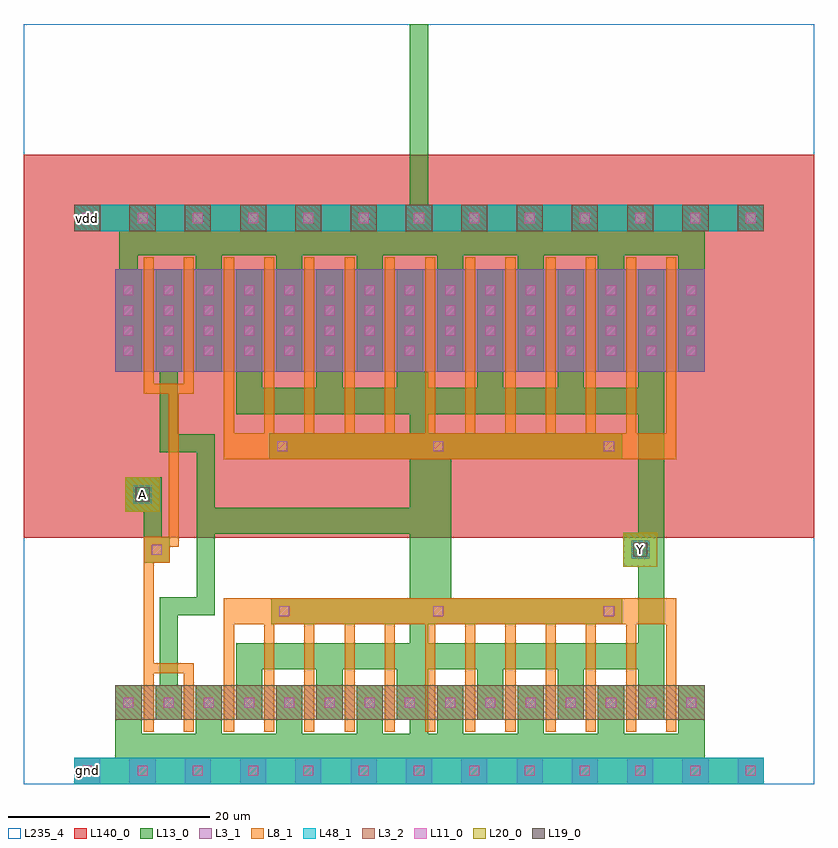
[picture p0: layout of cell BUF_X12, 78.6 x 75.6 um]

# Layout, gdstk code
import gdstk
lib = gdstk.Library(unit=1e-6, precision=1e-09)
def R(c, l, rs):  # rectangles x0, y0, x1, y1
    for r in rs: c.add(gdstk.rectangle(r[:2], r[2:], *l))
def A(c, l, x, y, w, h, nx, ny, dx, dy):  # array of equal rectangles
    R(c, l, [(x+i*dx, y+j*dy, x+i*dx+w, y+j*dy+h) for i in range(nx) for j in range(ny)])
def P(c, l, *ps):  # polygons
    for p in ps: c.add(gdstk.Polygon(p, *l))
L3_1 = (3, 1)
L3_2 = (3, 2)
L8_1 = (8, 1)
L11_0 = (11, 0)
L13_0 = (13, 0)
L19_0 = (19, 0)
L20_0 = (20, 0)
L48_1 = (48, 1)
L140_0 = (140, 0)
L235_4 = (235, 4)

buf_x12 = lib.new_cell('BUF_X12')
A(buf_x12, L3_1, 5, 0, 2.6, 2.6, 13, 1, 5.5, 0)
R(buf_x12, L3_1, [(9.1,41,67.7,51.2)])
A(buf_x12, L3_2, 5, 55, 2.6, 2.6, 13, 1, 5.5, 0)
R(buf_x12, L3_2, [(9.1,6.4,67.7,9.8)])
P(buf_x12, L8_1, [(19.9,5.2),(19.9,18.5),(64.9,18.5),(64.9,5.2),(63.9,5.2),(63.9,15.9),(60.9,15.9),(60.9,5.2),(59.9,5.2),(59.9,15.9),(56.9,15.9),(56.9,5.2),(55.9,5.2),(55.9,15.9),(52.9,15.9),(52.9,5.2),(51.9,5.2),(51.9,15.9),(48.9,15.9),(48.9,5.2),(47.9,5.2),(47.9,15.9),(44.9,15.9),(44.9,5.2),(43.9,5.2),(43.9,15.9),(40.9,15.9),(40.9,5.2),(39.9,5.2),(39.9,15.9),(36.9,15.9),(36.9,5.2),(35.9,5.2),(35.9,15.9),(32.9,15.9),(32.9,5.2),(31.9,5.2),(31.9,15.9),(28.9,15.9),(28.9,5.2),(27.9,5.2),(27.9,15.9),(24.9,15.9),(24.9,5.2),(23.9,5.2),(23.9,15.9),(20.9,15.9),(20.9,5.2)],
  [(11.9,5.2),(11.9,24.6),(14.4,24.6),(14.4,38.8),(11.9,38.8),(11.9,52.4),(12.9,52.4),(12.9,39.8),(15.9,39.8),(15.9,52.4),(16.9,52.4),(16.9,38.8),(15.4,38.8),(15.4,23.6),(14.5,23.6),(14.5,22),(12.9,22),(12.9,12),(16.9,12),(16.9,5.2),(15.9,5.2),(15.9,11),(12.9,11),(12.9,5.2)],
  [(19.9,32.3),(19.9,52.4),(20.9,52.4),(20.9,34.9),(23.9,34.9),(23.9,52.4),(24.9,52.4),(24.9,34.9),(27.9,34.9),(27.9,52.4),(28.9,52.4),(28.9,34.9),(31.9,34.9),(31.9,52.4),(32.9,52.4),(32.9,34.9),(35.9,34.9),(35.9,52.4),(36.9,52.4),(36.9,34.9),(39.9,34.9),(39.9,52.4),(40.9,52.4),(40.9,34.9),(43.9,34.9),(43.9,52.4),(44.9,52.4),(44.9,34.9),(47.9,34.9),(47.9,52.4),(48.9,52.4),(48.9,34.9),(51.9,34.9),(51.9,52.4),(52.9,52.4),(52.9,34.9),(55.9,34.9),(55.9,52.4),(56.9,52.4),(56.9,34.9),(59.9,34.9),(59.9,52.4),(60.9,52.4),(60.9,34.9),(63.9,34.9),(63.9,52.4),(64.9,52.4),(64.9,32.3)])
A(buf_x12, L11_0, 5.8, 0.8, 1, 1, 13, 2, 5.5, 55)
A(buf_x12, L11_0, 9.9, 7.6, 1, 1, 3, 2, 4, 35)
A(buf_x12, L11_0, 17.9, 7.6, 1, 1, 13, 2, 4, 35)
A(buf_x12, L11_0, 9.9, 44.6, 1, 1, 3, 3, 4, 2)
A(buf_x12, L11_0, 17.9, 44.6, 1, 1, 13, 3, 4, 2)
R(buf_x12, L11_0, [(25.4,16.7,26.4,17.7), (40.7,16.7,41.7,17.7), (57.7,16.7,58.7,17.7), (12.7,22.8,13.7,23.8), (25.2,33.1,26.2,34.1), (40.7,33.1,41.7,34.1), (57.7,33.1,58.7,34.1)])
P(buf_x12, L13_0, [(11.9,22),(11.9,27.1),(10.1,27.1),(10.1,30.5),(13.7,30.5),(13.7,24.6),(14.5,24.6),(14.5,22)],
  [(5,0),(5,2.6),(9.1,2.6),(9.1,9.8),(11.7,9.8),(11.7,5),(17.1,5),(17.1,9.8),(19.7,9.8),(19.7,5),(25.1,5),(25.1,9.8),(27.7,9.8),(27.7,5),(33.1,5),(33.1,9.8),(35.7,9.8),(35.7,5),(38.4,5),(38.4,6.4),(37.1,6.4),(37.1,11.4),(31.7,11.4),(31.7,6.4),(29.1,6.4),(29.1,11.4),(23.7,11.4),(23.7,6.4),(21.1,6.4),(21.1,14),(38.4,14),(38.4,15.9),(24.6,15.9),(24.6,18.5),(38.4,18.5),(38.4,24.9),(19,24.9),(19,16.8),(15.3,16.8),(15.3,9.8),(15.7,9.8),(15.7,6.4),(13.1,6.4),(13.1,9.8),(13.5,9.8),(13.5,18.6),(17.2,18.6),(17.2,33),(13.5,33),(13.5,41),(13.1,41),(13.1,51.2),(15.7,51.2),(15.7,41),(15.3,41),(15.3,34.8),(19,34.8),(19,27.5),(38.4,27.5),(38.4,32.3),(24.4,32.3),(24.4,34.9),(38.4,34.9),(38.4,36.8),(40.2,36.8),(40.2,34.9),(59.5,34.9),(59.5,32.3),(42.5,32.3),(42.5,18.5),(59.5,18.5),(59.5,15.9),(40.2,15.9),(40.2,14),(61.1,14),(61.1,21.6),(59.6,21.6),(59.6,25),(61.1,25),(61.1,36.8),(21.1,36.8),(21.1,51.2),(23.7,51.2),(23.7,39.4),(29.1,39.4),(29.1,51.2),(31.7,51.2),(31.7,39.4),(37.1,39.4),(37.1,51.2),(39.7,51.2),(39.7,41),(40.2,41),(40.2,39.4),(45.1,39.4),(45.1,51.2),(47.7,51.2),(47.7,39.4),(53.1,39.4),(53.1,51.2),(55.7,51.2),(55.7,39.4),(61.1,39.4),(61.1,51.2),(63.7,51.2),(63.7,6.4),(61.1,6.4),(61.1,11.4),(55.7,11.4),(55.7,6.4),(53.1,6.4),(53.1,11.4),(47.7,11.4),(47.7,6.4),(45.1,6.4),(45.1,11.4),(40.2,11.4),(40.2,5),(41.1,5),(41.1,9.8),(43.7,9.8),(43.7,5),(49.1,5),(49.1,9.8),(51.7,9.8),(51.7,5),(57.1,5),(57.1,9.8),(59.7,9.8),(59.7,5),(65.1,5),(65.1,9.8),(67.7,9.8),(67.7,2.6),(73.6,2.6),(73.6,0)],
  [(9.1,41),(9.1,51.2),(9.5,51.2),(9.5,55),(5,55),(5,57.6),(38.4,57.6),(38.4,75.6),(40.2,75.6),(40.2,57.6),(73.6,57.6),(73.6,55),(67.7,55),(67.7,41),(65.1,41),(65.1,52.6),(59.7,52.6),(59.7,41),(57.1,41),(57.1,52.6),(51.7,52.6),(51.7,41),(49.1,41),(49.1,52.6),(43.7,52.6),(43.7,41),(41.1,41),(41.1,52.6),(35.7,52.6),(35.7,41),(33.1,41),(33.1,52.6),(27.7,52.6),(27.7,41),(25.1,41),(25.1,52.6),(19.7,52.6),(19.7,41),(17.1,41),(17.1,52.6),(11.3,52.6),(11.3,51.2),(11.7,51.2),(11.7,41)])
R(buf_x12, L19_0, [(60.6,22.6,62,24), (11.1,28.1,12.5,29.5)])
R(buf_x12, L20_0, [(59.6,21.6,63,25), (10.1,27.1,13.5,30.5)])
R(buf_x12, L48_1, [(5,0,73.6,2.6), (60.4,22.4,62.2,24.2), (10.9,27.9,12.7,29.7), (10.9,27.9,12.7,29.7), (5,55,73.6,57.6)])
R(buf_x12, L140_0, [(0,24.5,78.6,62.6)])
R(buf_x12, L235_4, [(0,0,78.6,75.6)])
buf_x12.add(gdstk.Label('vdd', (6.3,56.3), layer=48, texttype=0))
buf_x12.add(gdstk.Label('gnd', (6.3,1.3), layer=48, texttype=0))
buf_x12.add(gdstk.Label('Y', (61.3,23.3), layer=48, texttype=0))
buf_x12.add(gdstk.Label('A', (11.8,28.8), layer=48, texttype=0))
buf_x12.add(gdstk.Label('A', (11.8,28.8), layer=48, texttype=0))
buf_x12.add(gdstk.Label('A', (11.8,28.8), layer=49, texttype=0))
buf_x12.add(gdstk.Label('Y', (61.3,23.3), layer=49, texttype=0))

lib.write_gds('BUF_X12.gds')
